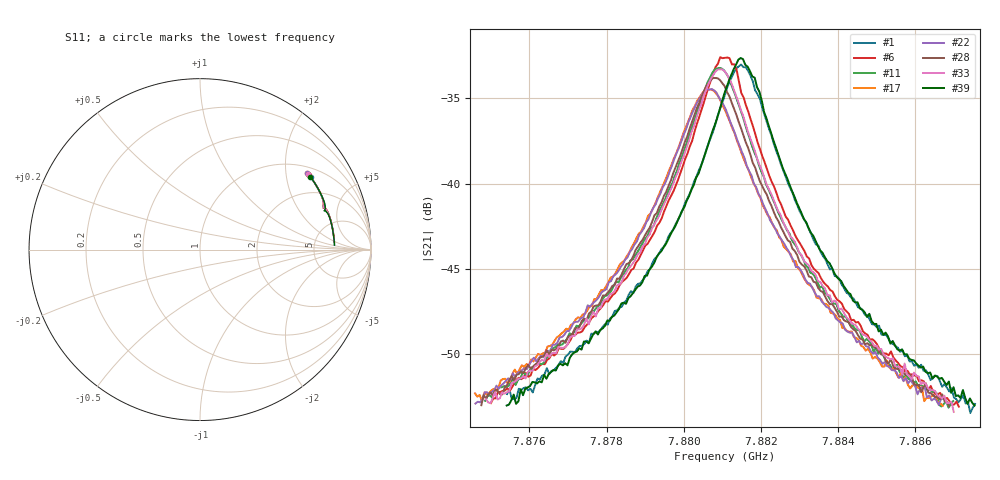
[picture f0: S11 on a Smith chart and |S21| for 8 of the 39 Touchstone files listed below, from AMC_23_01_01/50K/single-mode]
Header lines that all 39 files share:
#  HZ  S  DB  R  50.00
! Rohde & Schwarz Vector Network Analyzer
! Rohde-Schwarz,ZNB20-2Port,1311601062101988,3.16
! freq[Hz]  db:S11  ang:S11  db:S21  ang:S21  db:S12  ang:S12  db:S22  ang:S22
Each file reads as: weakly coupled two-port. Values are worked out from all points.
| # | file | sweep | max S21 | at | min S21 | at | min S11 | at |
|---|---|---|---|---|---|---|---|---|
| 1 | 16_ST43.001_UT51.951_H175.01.s2p | 7.87542 GHz to 7.88755 GHz | -33.02 dB | 7.88149 GHz | -53.4 dB | 7.88743 GHz | -2.4 dB | 7.88155 GHz |
| 2 | 17_ST42.998_UT51.952_H959.2.s2p | 7.87544 GHz to 7.88757 GHz | -33.21 dB | 7.88151 GHz | -53.2 dB | 7.88739 GHz | -2.4 dB | 7.88157 GHz |
| 3 | 23_ST43.0_UT51.953_H5841.2.s2p | 7.87536 GHz to 7.88749 GHz | -33.70 dB | 7.88136 GHz | -53.3 dB | 7.88743 GHz | -2.3 dB | 7.88136 GHz |
| 4 | 28_ST43.002_UT51.952_H9946.76.s2p | 7.8751 GHz to 7.88723 GHz | -32.44 dB | 7.88116 GHz | -53.5 dB | 7.88717 GHz | -2.4 dB | 7.88122 GHz |
| 5 | 39_ST43.0_UT51.938_H19021.23.s2p | 7.87502 GHz to 7.88715 GHz | -32.49 dB | 7.88109 GHz | -53.5 dB | 7.88715 GHz | -2.4 dB | 7.88109 GHz |
| 6 | 42_ST42.999_UT51.931_H21506.06.s2p | 7.875 GHz to 7.88713 GHz | -32.60 dB | 7.88095 GHz | -53.1 dB | 7.88713 GHz | -2.4 dB | 7.88101 GHz |
| 7 | 45_ST42.999_UT51.925_H23918.09.s2p | 7.87498 GHz to 7.88711 GHz | -32.65 dB | 7.88105 GHz | -53.4 dB | 7.88711 GHz | -2.4 dB | 7.88105 GHz |
| 8 | 46_ST43.0_UT51.923_H24800.88.s2p | 7.87497 GHz to 7.8871 GHz | -32.63 dB | 7.88104 GHz | -53.4 dB | 7.8871 GHz | -2.4 dB | 7.88104 GHz |
| 9 | 57_ST42.998_UT51.896_H33766.54.s2p | 7.87491 GHz to 7.88704 GHz | -32.93 dB | 7.88085 GHz | -53.4 dB | 7.88704 GHz | -2.4 dB | 7.88091 GHz |
| 10 | 58_ST42.998_UT51.893_H34612.66.s2p | 7.87489 GHz to 7.88702 GHz | -32.92 dB | 7.88102 GHz | -53.6 dB | 7.88696 GHz | -2.4 dB | 7.88096 GHz |
| 11 | 64_ST43.002_UT51.877_H39563.06.s2p | 7.87486 GHz to 7.88699 GHz | -33.22 dB | 7.88092 GHz | -53.1 dB | 7.88687 GHz | -2.4 dB | 7.88092 GHz |
| 12 | 79_ST42.996_UT51.833_H51860.38.s2p | 7.87477 GHz to 7.8869 GHz | -33.61 dB | 7.88084 GHz | -53.2 dB | 7.8869 GHz | -2.3 dB | 7.88078 GHz |
| 13 | 80_ST43.0_UT51.829_H52706.04.s2p | 7.87476 GHz to 7.88689 GHz | -33.66 dB | 7.88077 GHz | -53.1 dB | 7.88683 GHz | -2.4 dB | 7.88083 GHz |
| 14 | 82_ST43.0_UT51.823_H54326.1.s2p | 7.87476 GHz to 7.88689 GHz | -33.69 dB | 7.88082 GHz | -53.2 dB | 7.88677 GHz | -2.4 dB | 7.88082 GHz |
| 15 | 89_ST42.999_UT51.8_H60051.57.s2p | 7.87471 GHz to 7.88684 GHz | -33.91 dB | 7.88078 GHz | -53.3 dB | 7.88678 GHz | -2.3 dB | 7.88078 GHz |
| 16 | 94_ST42.998_UT51.784_H64138.69.s2p | 7.87469 GHz to 7.88682 GHz | -34.03 dB | 7.88075 GHz | -53.4 dB | 7.88682 GHz | -2.3 dB | 7.88069 GHz |
| 17 | 112_ST42.999_UT51.728_H78992.55.s2p | 7.87459 GHz to 7.88672 GHz | -34.49 dB | 7.88066 GHz | -53.0 dB | 7.88672 GHz | -2.3 dB | 7.8806 GHz |
| 18 | 116_ST43.002_UT51.715_H82295.91.s2p | 7.87457 GHz to 7.8867 GHz | -34.57 dB | 7.88064 GHz | -53.1 dB | 7.8867 GHz | -2.3 dB | 7.88064 GHz |
| 19 | 117_ST42.999_UT51.712_H83144.08.s2p | 7.87457 GHz to 7.8867 GHz | -34.56 dB | 7.88063 GHz | -53.3 dB | 7.88664 GHz | -2.3 dB | 7.88063 GHz |
| 20 | 123_ST42.998_UT51.695_H88089.3.s2p | 7.87454 GHz to 7.88667 GHz | -34.77 dB | 7.88061 GHz | -52.9 dB | 7.88667 GHz | -2.3 dB | 7.88067 GHz |
| 21 | 124_ST43.001_UT51.691_H88919.57.s2p | 7.87453 GHz to 7.88666 GHz | -34.76 dB | 7.8806 GHz | -53.1 dB | 7.88666 GHz | -2.3 dB | 7.88054 GHz |
| 22 | 141_ST43.0_UT51.731_H78138.96.s2p | 7.8746 GHz to 7.88673 GHz | -34.46 dB | 7.88061 GHz | -53.0 dB | 7.88661 GHz | -2.3 dB | 7.88061 GHz |
| 23 | 143_ST43.0_UT51.739_H76522.64.s2p | 7.87462 GHz to 7.88675 GHz | -34.41 dB | 7.88068 GHz | -53.2 dB | 7.88651 GHz | -2.3 dB | 7.88062 GHz |
| 24 | 149_ST42.998_UT51.765_H71566.01.s2p | 7.87465 GHz to 7.88678 GHz | -34.26 dB | 7.88071 GHz | -53.2 dB | 7.88672 GHz | -2.4 dB | 7.88071 GHz |
| 25 | 161_ST43.003_UT51.818_H61779.18.s2p | 7.87472 GHz to 7.88685 GHz | -33.94 dB | 7.88078 GHz | -53.1 dB | 7.88679 GHz | -2.4 dB | 7.88078 GHz |
| 26 | 163_ST43.001_UT51.825_H60144.98.s2p | 7.87473 GHz to 7.88686 GHz | -33.90 dB | 7.88079 GHz | -53.0 dB | 7.8868 GHz | -2.4 dB | 7.88079 GHz |
| 27 | 164_ST42.997_UT51.829_H59300.46.s2p | 7.87474 GHz to 7.88687 GHz | -33.87 dB | 7.8808 GHz | -53.2 dB | 7.88687 GHz | -2.4 dB | 7.88074 GHz |
| 28 | 167_ST43.003_UT51.841_H56840.77.s2p | 7.87475 GHz to 7.88689 GHz | -33.81 dB | 7.88082 GHz | -53.1 dB | 7.88689 GHz | -2.4 dB | 7.88082 GHz |
| 29 | 168_ST42.999_UT51.846_H56068.52.s2p | 7.87476 GHz to 7.88689 GHz | -33.76 dB | 7.88083 GHz | -53.2 dB | 7.88677 GHz | -2.4 dB | 7.88089 GHz |
| 30 | 170_ST42.998_UT51.854_H54398.01.s2p | 7.87477 GHz to 7.8869 GHz | -33.68 dB | 7.88084 GHz | -53.0 dB | 7.87477 GHz | -2.4 dB | 7.88084 GHz |
| 31 | 178_ST43.001_UT51.884_H47807.51.s2p | 7.87483 GHz to 7.88696 GHz | -33.49 dB | 7.88089 GHz | -53.2 dB | 7.88684 GHz | -2.4 dB | 7.88089 GHz |
| 32 | 179_ST43.003_UT51.889_H47035.42.s2p | 7.87483 GHz to 7.88696 GHz | -33.46 dB | 7.8809 GHz | -52.7 dB | 7.87489 GHz | -2.4 dB | 7.8809 GHz |
| 33 | 185_ST42.996_UT51.914_H42097.14.s2p | 7.87487 GHz to 7.887 GHz | -33.30 dB | 7.881 GHz | -53.4 dB | 7.887 GHz | -2.4 dB | 7.88094 GHz |
| 34 | 194_ST42.998_UT51.947_H34751.85.s2p | 7.87494 GHz to 7.88707 GHz | -33.09 dB | 7.88094 GHz | -53.1 dB | 7.88707 GHz | -2.4 dB | 7.881 GHz |
| 35 | 196_ST42.999_UT51.954_H33135.91.s2p | 7.87495 GHz to 7.88708 GHz | -32.90 dB | 7.88102 GHz | -53.0 dB | 7.88702 GHz | -2.4 dB | 7.88102 GHz |
| 36 | 200_ST43.0_UT51.968_H29828.56.s2p | 7.875 GHz to 7.88713 GHz | -32.79 dB | 7.88106 GHz | -53.0 dB | 7.875 GHz | -2.4 dB | 7.88106 GHz |
| 37 | 218_ST43.002_UT52.02_H15047.49.s2p | 7.87512 GHz to 7.88725 GHz | -32.28 dB | 7.88113 GHz | -52.9 dB | 7.87512 GHz | -2.4 dB | 7.88119 GHz |
| 38 | 229_ST42.998_UT52.04_H6049.79.s2p | 7.87538 GHz to 7.88751 GHz | -33.26 dB | 7.88145 GHz | -52.9 dB | 7.88739 GHz | -2.4 dB | 7.88151 GHz |
| 39 | 230_ST42.997_UT52.04_H5203.65.s2p | 7.87541 GHz to 7.88754 GHz | -32.64 dB | 7.88148 GHz | -53.0 dB | 7.88754 GHz | -2.4 dB | 7.88148 GHz |
